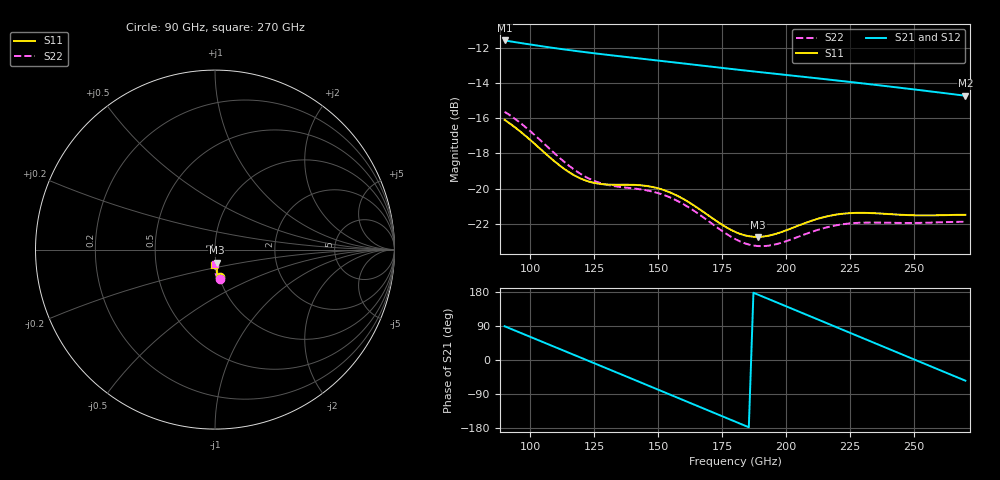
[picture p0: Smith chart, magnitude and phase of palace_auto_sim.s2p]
#  GHZ S DB R 50
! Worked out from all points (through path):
!   101 points, 90 GHz to 270 GHz, reference 50 ohm
!   highest |S21| = -11.60 dB at 90 GHz (marker M1); lowest = -14.7 dB at 270 GHz (marker M2)
!   group delay of S21, straight-line fit = 7.78 ps
!   lowest |S11| = -22.7 dB at 189 GHz (marker M3), VSWR 1.16, Z = 50.3 - j7.34 ohm
!   |S11| at or under -10 dB: start of sweep to end of sweep
!   |S22| runs from -23.3 to -15.6 dB; largest |S21 - S12| = 2.3e-13
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90  -16.10 -79.7  -11.60 89.0  -11.60 89.0  -15.64 -80.9
97.2  -16.89 -83.2  -11.76 69.0  -11.76 69.0  -16.39 -85.1
106.2  -18.04 -85.4  -11.96 43.9  -11.96 43.9  -17.55 -88.7
113.4  -18.89 -85.0  -12.11 23.8  -12.11 23.8  -18.49 -89.4
120.6  -19.48 -83.3  -12.24 3.8  -12.24 3.8  -19.24 -88.4
127.8  -19.74 -81.5  -12.37 -16.3  -12.37 -16.3  -19.70 -86.9
135  -19.77 -81.2  -12.49 -36.4  -12.49 -36.4  -19.90 -86.2
144  -19.82 -83.1  -12.64 -61.6  -12.64 -61.6  -20.05 -87.4
151.2  -20.03 -85.8  -12.76 -81.7  -12.76 -81.7  -20.30 -89.6
163.8  -20.93 -90.0  -12.97 -117.0  -12.97 -117.0  -21.23 -93.3
172.8  -21.83 -90.2  -13.12 -142.2  -13.12 -142.2  -22.17 -93.5
180  -22.44 -87.9  -13.24 -162.4  -13.24 -162.4  -22.85 -91.1
189  -22.73 -83.3  -13.38 172.4  -13.38 172.4  -23.25 -86.2
199.8  -22.37 -79.5  -13.55 142.2  -13.55 142.2  -22.98 -81.3
210.6  -21.78 -79.8  -13.72 111.9  -13.72 111.9  -22.41 -80.4
217.8  -21.51 -81.6  -13.83 91.7  -13.83 91.7  -22.12 -81.6
225  -21.38 -84.0  -13.95 71.5  -13.95 71.5  -21.96 -83.3
234  -21.38 -86.8  -14.10 46.3  -14.10 46.3  -21.91 -85.5
241.2  -21.45 -88.6  -14.22 26.1  -14.22 26.1  -21.93 -86.8
248.4  -21.50 -90.0  -14.35 5.9  -14.35 5.9  -21.94 -88.0
255.6  -21.51 -91.4  -14.47 -14.3  -14.47 -14.3  -21.92 -89.1
270  -21.48 -95.1  -14.73 -54.6  -14.73 -54.6  -21.87 -91.9
